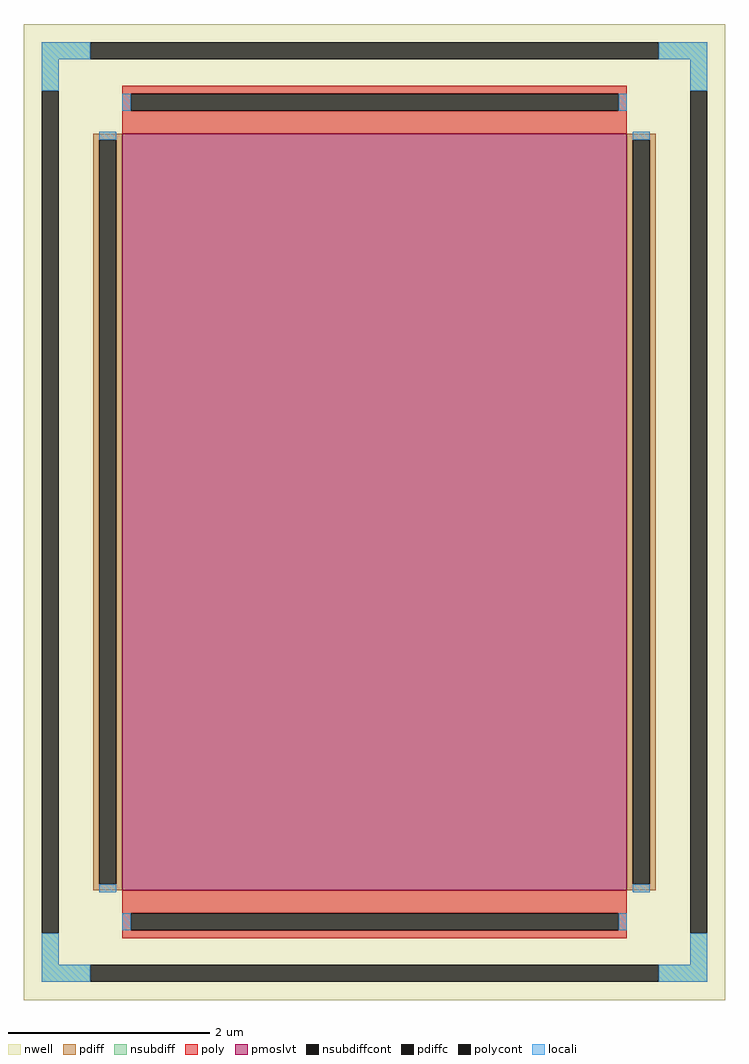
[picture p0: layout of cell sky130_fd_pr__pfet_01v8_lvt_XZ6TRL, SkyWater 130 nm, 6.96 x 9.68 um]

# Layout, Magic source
magic
tech sky130A
<< nwell >>
rect -348 -484 348 484
<< pmoslvt >>
rect -250 -375 250 375
<< pdiff >>
rect -279 369 -250 375
rect -279 -369 -273 369
rect -256 -369 -250 369
rect -279 -375 -250 -369
rect 250 369 279 375
rect 250 -369 256 369
rect 273 -369 279 369
rect 250 -375 279 -369
<< pdiffc >>
rect -273 -369 -256 369
rect 256 -369 273 369
<< nsubdiff >>
rect -330 449 -282 466
rect 282 449 330 466
rect -330 418 -313 449
rect 313 418 330 449
rect -330 -449 -313 -418
rect 313 -449 330 -418
rect -330 -466 -282 -449
rect 282 -466 330 -449
<< nsubdiffcont >>
rect -282 449 282 466
rect -330 -418 -313 418
rect 313 -418 330 418
rect -282 -466 282 -449
<< poly >>
rect -250 415 250 423
rect -250 398 -242 415
rect 242 398 250 415
rect -250 375 250 398
rect -250 -398 250 -375
rect -250 -415 -242 -398
rect 242 -415 250 -398
rect -250 -423 250 -415
<< polycont >>
rect -242 398 242 415
rect -242 -415 242 -398
<< locali >>
rect -330 449 -282 466
rect 282 449 330 466
rect -330 418 -313 449
rect 313 418 330 449
rect -250 398 -242 415
rect 242 398 250 415
rect -273 369 -256 377
rect -273 -377 -256 -369
rect 256 369 273 377
rect 256 -377 273 -369
rect -250 -415 -242 -398
rect 242 -415 250 -398
rect -330 -449 -313 -418
rect 313 -449 330 -418
rect -330 -466 -282 -449
rect 282 -466 330 -449
<< properties >>
string gencell sky130_fd_pr__pfet_01v8_lvt
string FIXED_BBOX -321 -458 321 458
string parameters w 7.5 l 5 m 1 nf 1 diffcov 100 polycov 100 guard 1 glc 1 grc 1 gtc 1 gbc 1 tbcov 100 rlcov 100 topc 1 botc 1 poverlap 0 doverlap 1 lmin 0.35 wmin 0.42 compatible {sky130_fd_pr__pfet_01v8  sky130_fd_pr__pfet_01v8_lvt sky130_fd_pr__pfet_01v8_hvt  sky130_fd_pr__pfet_g5v0d10v5} full_metal 1
string library sky130
<< end >>
